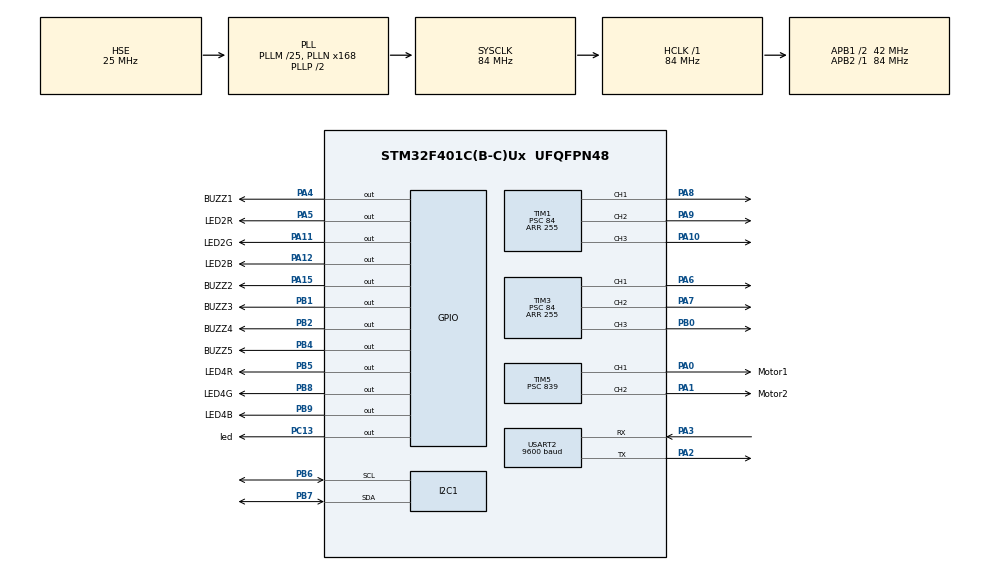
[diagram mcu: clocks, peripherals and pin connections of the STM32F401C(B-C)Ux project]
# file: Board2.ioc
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Mcu.Family=STM32F4
Mcu.Name=STM32F401C(B-C)Ux
Mcu.Package=UFQFPN48
NVIC.PriorityGroup=NVIC_PRIORITYGROUP_4
PA0-WKUP.GPIO_Label=Motor1
PA0-WKUP.Signal=S_TIM5_CH1
PA1.GPIO_Label=Motor2
PA1.Signal=S_TIM5_CH2
PA10.Signal=S_TIM1_CH3
PA11.GPIO_Label=LED2G
PA11.Signal=GPIO_Output
PA12.GPIO_Label=LED2B
PA12.Signal=GPIO_Output
PA15.GPIO_Label=BUZZ2
PA15.Signal=GPIO_Output
PA2.Mode=Multiprocessor_communication
PA2.Signal=USART2_TX
PA3.Mode=Multiprocessor_communication
PA3.Signal=USART2_RX
PA4.GPIO_Label=BUZZ1
PA4.Signal=GPIO_Output
PA5.GPIO_Label=LED2R
PA5.Signal=GPIO_Output
PA6.Signal=S_TIM3_CH1
PA7.Signal=S_TIM3_CH2
PA8.Signal=S_TIM1_CH1
PA9.Signal=S_TIM1_CH2
PB0.Signal=S_TIM3_CH3
PB1.GPIO_Label=BUZZ3
PB1.Signal=GPIO_Output
PB2.GPIO_Label=BUZZ4
PB2.Signal=GPIO_Output
PB4.GPIO_Label=BUZZ5
PB4.Signal=GPIO_Output
PB5.GPIO_Label=LED4R
PB5.Signal=GPIO_Output
PB6.GPIO_Pu=GPIO_PULLUP
PB6.Mode=I2C
PB6.Signal=I2C1_SCL
PB7.GPIO_Pu=GPIO_PULLUP
PB7.Mode=I2C
PB7.Signal=I2C1_SDA
PB8.GPIO_Label=LED4G
PB8.Signal=GPIO_Output
PB9.GPIO_Label=LED4B
PB9.Signal=GPIO_Output
PC13-ANTI_TAMP.GPIO_Label=led
PC13-ANTI_TAMP.Signal=GPIO_Output
PH0\ -\ OSC_IN.Mode=HSE-External-Oscillator
PH0\ -\ OSC_IN.Signal=RCC_OSC_IN
PH1\ -\ OSC_OUT.Mode=HSE-External-Oscillator
PH1\ -\ OSC_OUT.Signal=RCC_OSC_OUT
ProjectManager.HeapSize=0x200
ProjectManager.StackSize=0x400
ProjectManager.TargetToolchain=STM32CubeIDE
RCC.48MHZClocksFreq_Value=42000000
RCC.AHBFreq_Value=84000000
RCC.APB1CLKDivider=RCC_HCLK_DIV2
RCC.APB1Freq_Value=42000000
RCC.APB1TimFreq_Value=84000000
RCC.APB2Freq_Value=84000000
RCC.APB2TimFreq_Value=84000000
RCC.CortexFreq_Value=84000000
RCC.HCLKFreq_Value=84000000
RCC.HSE_VALUE=25000000
RCC.HSI_VALUE=16000000
RCC.LSE_VALUE=32768
RCC.PLLM=25
RCC.PLLN=168
RCC.PLLSourceVirtual=RCC_PLLSOURCE_HSE
RCC.SYSCLKFreq_VALUE=84000000
RCC.SYSCLKSource=RCC_SYSCLKSOURCE_PLLCLK
RCC.VCOOutputFreq_Value=168000000
SH.S_TIM1_CH1.0=TIM1_CH1,PWM Generation1 CH1
SH.S_TIM1_CH2.0=TIM1_CH2,PWM Generation2 CH2
SH.S_TIM1_CH3.0=TIM1_CH3,PWM Generation3 CH3
SH.S_TIM3_CH1.0=TIM3_CH1,PWM Generation1 CH1
SH.S_TIM3_CH2.0=TIM3_CH2,PWM Generation2 CH2
SH.S_TIM3_CH3.0=TIM3_CH3,PWM Generation3 CH3
SH.S_TIM5_CH1.0=TIM5_CH1,PWM Generation1 CH1
SH.S_TIM5_CH2.0=TIM5_CH2,PWM Generation2 CH2
TIM1.Channel-PWM\ Generation1\ CH1=TIM_CHANNEL_1
TIM1.Channel-PWM\ Generation2\ CH2=TIM_CHANNEL_2
TIM1.Channel-PWM\ Generation3\ CH3=TIM_CHANNEL_3
TIM1.Period=255
TIM1.Prescaler=84
TIM3.Channel-PWM\ Generation1\ CH1=TIM_CHANNEL_1
TIM3.Channel-PWM\ Generation2\ CH2=TIM_CHANNEL_2
TIM3.Channel-PWM\ Generation3\ CH3=TIM_CHANNEL_3
TIM3.Period=255
TIM3.Prescaler=84
TIM4.Period=255
TIM4.Prescaler=84
TIM5.Channel-PWM\ Generation1\ CH1=TIM_CHANNEL_1
TIM5.Channel-PWM\ Generation2\ CH2=TIM_CHANNEL_2
TIM5.Period=1999
TIM5.Prescaler=839
USART2.BaudRate=9600
USART2.VirtualMode=VM_ASYNC
VP_TIM1_VS_ClockSourceINT.Mode=Internal
VP_TIM3_VS_ClockSourceINT.Mode=Internal
VP_TIM4_VS_ClockSourceINT.Mode=Internal
VP_TIM5_VS_ClockSourceINT.Mode=Internal
board=custom

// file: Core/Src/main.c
/* USER CODE END Header */
#include "main.h"

/* USER CODE BEGIN Includes */
#include "i2c_lcd.h"
#include <string.h>
#include <stdio.h>  // Added for sscanf and string parsing
#include <stdarg.h>
 // Your Adafruit IO credentials (SSID, PASS, IO_USERNAME, IO_KEY)
/* USER CODE END Includes */

I2C_HandleTypeDef hi2c1;

TIM_HandleTypeDef htim1;
TIM_HandleTypeDef htim3;
TIM_HandleTypeDef htim4;
TIM_HandleTypeDef htim5;

UART_HandleTypeDef huart2;

/* USER CODE BEGIN PV */
#define RX_BUFFER_SIZE 128
uint8_t rx_buffer[RX_BUFFER_SIZE];
uint8_t rx_byte;
uint8_t rx_index = 0;
uint8_t data_ready = 0;
uint8_t empty = 4;
uint8_t arr[5]={0,0,0,0,0};
int32_t card_state[6];

#define NUM_RFIDS 6

const char *valid_rfids[NUM_RFIDS] = {
    "C4BC1902", "033FD72C", "7BDE8E02",
    "7673B202", "F393B802", "0AD8B902"
};

// Initialized to -1. A value of -1 means "Not Entered", any other value means "Entered"
int32_t rfid_timestamps[NUM_RFIDS] = {-1, -1, -1, -1, -1, -1};
char fetched_rfid[32] = {0}; // Buffer to hold the incoming ID

uint8_t gate1_in_use = 0;  // 1 if Gate 1 is currently open for entry
uint8_t gate2_in_use = 0;  // 1 if Gate 2 is currently open for exit

uint8_t gate_lock = 0;

/* USER CODE END PV */

void SystemClock_Config(void);
static void MX_GPIO_Init(void);
static void MX_TIM5_Init(void);
static void MX_TIM1_Init(void);
static void MX_TIM3_Init(void);
static void MX_TIM4_Init(void);
static void MX_USART2_UART_Init(void);
static void MX_I2C1_Init(void);
/* USER CODE BEGIN PFP */
void rgb_color1(uint8_t red, uint8_t green, uint8_t blue);
//void rgb_color2(uint8_t red, uint8_t green, uint8_t blue);
void rgb_color3(uint8_t red, uint8_t green, uint8_t blue);
//void rgb_color4(uint8_t red, uint8_t green, uint8_t blue);
void Get_Sensor_Update(void);
void Process_Received_Data(char* data);

/* USER CODE END PFP */

/* USER CODE BEGIN 0 */
// Function to control hardware based on received data
void debug_print(const char* format, ...) {
    char buffer[128];
    va_list args;
    va_start(args, format);
    vsnprintf(buffer, sizeof(buffer), format, args);
    va_end(args);

    // Send to serial
    HAL_UART_Transmit(&huart2, (uint8_t*)buffer, strlen(buffer), 100);
    HAL_UART_Transmit(&huart2, (uint8_t*)"\r\n", 2, 100);
	return;
}

void LCD_empty_spots(void) {
    char lcd_buffer[32];
    uint8_t display_col = 7; // Start printing spot numbers after "spots: " (columns 0-6)

    // 1. Safely format and display the total count on Row 0
    snprintf(lcd_buffer, sizeof(lcd_buffer), "Total Empty = %d     ", empty);
    lcd_put_cur(0, 0);
    lcd_send_string(lcd_buffer);

    // 2. Print the static prefix on Row 1
    lcd_put_cur(1, 0);
    lcd_send_string("spots: ");

    // 3. Dynamic loop to print empty spots next to the prefix
    for (int i = 1; i < 5; i++) {
        if (arr[i+1] == 0) { //  means empty based on your Process_Received_Data logic
            snprintf(lcd_buffer, sizeof(lcd_buffer), "%d ", i );
            lcd_put_cur(1, display_col);
            lcd_send_string(lcd_buffer);
            display_col += 2; // Advance position for the next found spot
        }
    }

    // 4. Clear out any trailing character artifacts left over from previous prints
    while (display_col < 16) {
        lcd_put_cur(1, display_col);
        lcd_send_string(" ");
        display_col++;
    }
}

void Get_Sensor_Update(void) {

    char http_request[300];
    char at_cmd[64];
    char clean_payload[32];
    char lcd_msg[32];

    // Static tracking variable to remember if our TCP pipe is open
    static uint8_t tcp_connected = 0;

    // --- HARDWARE FLUSH ---
    volatile uint32_t tmpreg = huart2.Instance->SR;
    volatile uint32_t tmpreg2 = huart2.Instance->DR;
    (void)tmpreg; (void)tmpreg2;

    // 1. Build the HTTP GET request with "keep-alive"
    snprintf(http_request, sizeof(http_request),
             "GET /api/v2/toqahossamx/feeds/sensor/data/last HTTP/1.1\r\n"
             "Host: io.adafruit.com\r\n"
            // "X-AIO-Key: YOUR_ADAFRUIT_KEY\r\n"
             "Connection: keep-alive\r\n\r\n"); // Keep connection open!

    // 2. Connect via TCP ONLY if we aren't already connected
    if (!tcp_connected) {
        //lcd_put_cur(0,0);
        //lcd_send_string("Connecting TCP...");

        char cipstart[] = "AT+CIPSTART=\"TCP\",\"io.adafruit.com\",80\r\n";
        HAL_UART_Transmit(&huart2, (uint8_t*)cipstart, strlen(cipstart), 1000);

        // Dynamic wait for connection response instead of a flat 500ms sleep
        char resp = 0;
        uint32_t start = HAL_GetTick();
        while((HAL_GetTick() - start) < 1000) {
            if(HAL_UART_Receive(&huart2, (uint8_t*)&resp, 1, 10) == HAL_OK) {
                // If we get an OK or ALREADY CONNECTED indicator, we can break early
                if (resp == '\n') break;
            }
        }
        tcp_connected = 1;
    }

    // 3. Send length command
    snprintf(at_cmd, sizeof(at_cmd), "AT+CIPSEND=%d\r\n", (int)strlen(http_request));
    HAL_UART_Transmit(&huart2, (uint8_t*)at_cmd, strlen(at_cmd), 1000);

    // Quick wait for the '>' prompt symbol from ESP instead of a blind 200ms delay
    char prompt = 0;
    uint32_t p_start = HAL_GetTick();
    while((HAL_GetTick() - p_start) < 500) {
        if(HAL_UART_Receive(&huart2, (uint8_t*)&prompt, 1, 5) == HAL_OK) {
            if(prompt == '>') break;
        }
    }

    // 4. Send the HTTP request payload
    HAL_UART_Transmit(&huart2, (uint8_t*)http_request, strlen(http_request), 1000);

    // 5. REAL-TIME STREAM PARSING
    const char *target = "\"value\":\"";
    int match_idx = 0;
    char rx_char;
    uint8_t found_data = 0;
    char type = 0;
    int index = 0, state = 0;

    // Monitor stream for up to 2000ms (Slashed from 3000ms for speed)
    uint32_t start_time = HAL_GetTick();
    while ((HAL_GetTick() - start_time) < 2000) {
        if (HAL_UART_Receive(&huart2, (uint8_t*)&rx_char, 1, 5) == HAL_OK) {
            if (rx_char == target[match_idx]) {
                match_idx++;
                if (target[match_idx] == '\0') {
                    char payload_buf[16];
                    int p_idx = 0;

                    while ((HAL_GetTick() - start_time) < 2000 && p_idx < 15) {
                        if (HAL_UART_Receive(&huart2, (uint8_t*)&rx_char, 1, 5) == HAL_OK) {
                            if (rx_char == '"') break;
                            payload_buf[p_idx++] = rx_char;
                        }
                    }
                    payload_buf[p_idx] = '\0';

                    if (sscanf(payload_buf, "%c,%d,%d", &type, &index, &state) == 3) {
                        found_data = 1;
                    }
                    break;
                }
            } else {
                match_idx = (rx_char == target[0]) ? 1 : 0;
            }
        }
    }

    // 6. Display updates and fallback logic
    if (found_data) {
        snprintf(clean_payload, sizeof(clean_payload), "value=%c,%d,%d", type, index, state);
        snprintf(lcd_msg, sizeof(lcd_msg), "Val: %c | %d | %d   ", type, index, state);

     /*   lcd_put_cur(2,0);
        lcd_send_string(lcd_msg);
        lcd_put_cur(2,0);
        lcd_send_string("Fetch Online    ");*/

        Process_Received_Data(clean_payload);
    } else {
     //   lcd_put_cur(3,);
       // lcd_send_string("Fetch Retry...");
        // If data stream timed out, assume TCP disconnected or broke down.
        // Forcing a fresh connection setup on the next loop.
        tcp_connected = 0;
    }
}
void Fetch_Latest_RFID(void) {
    char http_request[300];
    char at_cmd[64];

    // Clear previous ID
    memset(fetched_rfid, 0, sizeof(fetched_rfid));

    // 1. Build request for the RFID feed
    snprintf(http_request, sizeof(http_request),
             "GET /api/v2/toqahossamx/feeds/rfid/data/last HTTP/1.1\r\n"
             "Host: io.adafruit.com\r\n"
             "X-AIO-Key: YOUR_ADAFRUIT_KEY\r\n"
             "Connection: keep-alive\r\n\r\n");

    // 2. Send length command
    snprintf(at_cmd, sizeof(at_cmd), "AT+CIPSEND=%d\r\n", (int)strlen(http_request));
    HAL_UART_Transmit(&huart2, (uint8_t*)at_cmd, strlen(at_cmd), 1000);

    // Wait for prompt '>'
    char prompt = 0;
    uint32_t p_start = HAL_GetTick();
    while((HAL_GetTick() - p_start) < 500) {
        if(HAL_UART_Receive(&huart2, (uint8_t*)&prompt, 1, 5) == HAL_OK && prompt == '>') break;
    }

    // 3. Send the HTTP request
    HAL_UART_Transmit(&huart2, (uint8_t*)http_request, strlen(http_request), 1000);

    // 4. Parse the String ID from JSON {"value":"C4BC1902"}
    const char *target = "\"value\":\"";
    int match_idx = 0;
    char rx_char;
    uint32_t start_time = HAL_GetTick();

    while ((HAL_GetTick() - start_time) < 2000) {
        if (HAL_UART_Receive(&huart2, (uint8_t*)&rx_char, 1, 5) == HAL_OK) {
            if (rx_char == target[match_idx]) {
                match_idx++;
                if (target[match_idx] == '\0') {
                    int p_idx = 0;
                    while ((HAL_GetTick() - start_time) < 2000 && p_idx < 31) {
                        if (HAL_UART_Receive(&huart2, (uint8_t*)&rx_char, 1, 5) == HAL_OK) {
                            if (rx_char == '"') break; // End of string
                            fetched_rfid[p_idx++] = rx_char;
                        }
                    }
                    fetched_rfid[p_idx] = '\0';
                    break; // Parsing complete
                }
            } else {
                match_idx = (rx_char == target[0]) ? 1 : 0;
            }
        }
    }
}

void Process_Motor_Command(char type, int index, int state)
{
	 if ((gate_lock || empty==0) && state == 1)
	    {
	        lcd_put_cur(2,0);
	        lcd_send_string("ENTRY DENIED       ");
	        HAL_Delay(5000);
	        lcd_clear();

	        return;
	    }

    if (type != 'M') {
        debug_print("[ERROR] Type is not M, ignoring");
        return;
    }

    // =========================================================================
    // M,1,x COMMANDS (Entry/Exit Toggle)
    // =========================================================================
    if (index == 1)
    {

        if (state == 1 && gate_lock==0 && empty!=0)  // M,1,1 - OPEN command
        {
            // Delay for Adafruit to update RFID feed
            HAL_Delay(500);

            // Fetch the RFID
            Fetch_Latest_RFID();

            // Find which card this is
            int card_idx = -1;
            for (int i = 0; i < NUM_RFIDS; i++) {
                if (strcmp(fetched_rfid, valid_rfids[i]) == 0) {
                    card_idx = i;
                    break;
                }
            }

            // ERROR CASE: Unknown card
            if (card_idx == -1) {
                lcd_put_cur(0, 0);
                lcd_send_string("UNKNOWN CARD!   ");
                lcd_put_cur(1, 0);
                lcd_send_string("Access Denied   ");
                return;  // EXIT: Do nothing
            }

            debug_print("[STATE] Card index %d - timestamp = %ld",
                        card_idx, rfid_timestamps[card_idx]);

            if (rfid_timestamps[card_idx] == -1)
            {
                // SAFETY: Prevent both gates from opening
                if (gate1_in_use == 1 || gate2_in_use == 1) {
                    debug_print("[SAFETY] WARNING: A gate is already in use!");
                    return;  // EXIT
                }

                rfid_timestamps[card_idx] = HAL_GetTick();
                gate1_in_use = 1;
                gate2_in_use = 0;

                // OPEN GATE 1
                __HAL_TIM_SET_COMPARE(&htim5, TIM_CHANNEL_1, 100);
            }
            else
            {
                // EXIT MODE: Card IS in garage (has timestamp)
                debug_print("[EXIT] Timestamp is %ld (in garage)",
                            rfid_timestamps[card_idx]);

                // SAFETY: Prevent both gates from opening
                if (gate1_in_use == 1 || gate2_in_use == 1) {
                    debug_print("[SAFETY] WARNING: A gate is already in use!");
                    return;  // EXIT
                }

                uint32_t duration = HAL_GetTick() - (uint32_t)rfid_timestamps[card_idx];
                rfid_timestamps[card_idx] = -1; // Clear timestamp

                gate2_in_use = 1;
                gate1_in_use = 0;

                lcd_clear();
                lcd_put_cur(3, 0);
              //lcd_send_string("Time: %lus", duration);
                char msg[16];
                snprintf(msg, sizeof(msg), "Price: %lu LE", duration / 1000);
                lcd_put_cur(3, 0);
                lcd_send_string(msg);

                // OPEN GATE 2
                __HAL_TIM_SET_COMPARE(&htim5, TIM_CHANNEL_2, 100);
            }
        }
        else if (state == 0)  // M,1,0 - CLOSE command
        {
            debug_print("[GATE] M,1,0 received - closing active gates");

            // Close Gate 1 if it is open
            if (gate1_in_use == 1)
            {
                lcd_put_cur(0, 0);
                lcd_send_string("Gate 1 Closing...");
                __HAL_TIM_SET_COMPARE(&htim5, TIM_CHANNEL_1, 200);
                gate1_in_use = 0;
            }

            // ADDED CONDITION: Also close Gate 2 if it was opened during exit cycle
            if (gate2_in_use == 1)
            {
                lcd_put_cur(0, 0);
                lcd_send_string("Gate 2 Closing...");
                __HAL_TIM_SET_COMPARE(&htim5, TIM_CHANNEL_2, 200);
                gate2_in_use = 0;
            }
        }
    }

    // =========================================================================
    // M,2,x COMMANDS (Force Exit Gate)
    // =========================================================================
    else if (index == 2)
    {

        if (state == 1)  // M,2,1 - OPEN command
        {

            // SAFETY: Prevent both gates from opening simultaneously
            if (gate1_in_use == 1) {
                return;
            }

            // ADDED CONDITION: Force open Gate 2 when explicit M,2,1 instruction arrives
            gate2_in_use = 1;
            gate1_in_use = 0;

            // OPEN GATE 2
            __HAL_TIM_SET_COMPARE(&htim5, TIM_CHANNEL_2, 100);
        }
        else if (state == 0)  // M,2,0 - CLOSE command
        {
            if (gate2_in_use == 1)
            {
                __HAL_TIM_SET_COMPARE(&htim5, TIM_CHANNEL_2, 200);
                gate2_in_use = 0;
            }
        }
    }
}

void Process_Received_Data(char* data) {
    char type;
    int index, state;

    // The ESP might send "+IPD,xx:value=B,1,1" or just "value=B,1,1"
    // strstr locates the start of our actual payload
    char *payload_start = strstr(data, "value=");
    if (payload_start != NULL) {
        if (sscanf(payload_start, "value=%c,%d,%d", &type, &index, &state) == 3) {

            switch(type) {
                case 'U': // --- BUZZER CONTROL ---
                    if ((index == 1)&& (state ==1))
                    	{
                    	 HAL_GPIO_WritePin(GPIOA, BUZZ1_Pin, GPIO_PIN_SET);
                    	}
                    else if((index == 1)&& (state ==0))
                	{
                	 HAL_GPIO_WritePin(GPIOA, BUZZ1_Pin, GPIO_PIN_RESET);
                	}
                    else  if ((index == 2)&& (state ==1))
                     	{
                       HAL_GPIO_WritePin(GPIOA, BUZZ2_Pin, GPIO_PIN_SET);
                        }
                   else if((index == 2)&& (state ==0))
                         {
                           HAL_GPIO_WritePin(GPIOA, BUZZ2_Pin, GPIO_PIN_RESET);
                        }
                   else  if ((index == 3)&& (state ==1))
                       {
                          HAL_GPIO_WritePin(GPIOB, BUZZ3_Pin, GPIO_PIN_SET);
                        }
                   else if((index == 3)&& (state ==0))
                     {
                       HAL_GPIO_WritePin(GPIOB, BUZZ3_Pin, GPIO_PIN_RESET);
                     }
                   else if ((index == 4)&& (state ==1))
                    {
                      HAL_GPIO_WritePin(GPIOB, BUZZ4_Pin, GPIO_PIN_SET);
                   	}
                   else if((index == 4)&& (state ==0))
                    {
                      HAL_GPIO_WritePin(GPIOB, BUZZ4_Pin, GPIO_PIN_RESET);
                    }

                    break;

                case 'M':  // MOTOR CONTROL
                                 debug_print("[PROCESS] Routing to motor handler");
                                 Process_Motor_Command(type, index, state);
                                 break;

                case 'G':
                	if ((index ==0)&& (state==1))
                		 HAL_GPIO_WritePin(GPIOB, BUZZ5_Pin, GPIO_PIN_SET);
                	else if ((index ==0)&& (state==0))
                		 HAL_GPIO_WritePin(GPIOB, BUZZ5_Pin, GPIO_PIN_RESET);
                	break;

                case 'I': // --- LED/RGB CONTROL & PARKING LOGIC ---
                	if (index == 1)
                	{
                	    if (state == 1)
                	    {
                	        gate_lock = 1;

                	        lcd_put_cur(2,0);
                	        lcd_send_string("Height not allowed        ");
                	        HAL_Delay(500);
                	    }
                	    else
                	    {
                	        gate_lock = 0;
                	        lcd_put_cur(2,0);
                	        lcd_send_string("Height allowed   ");
                	        HAL_Delay(500);
                	    }

                	    break;
                	}
                                    if (index >= 2 && index <= 5) {
                                        uint8_t slot_idx = index - 1; // Convert 1-4 to array index 0-3

                                        if (state == 1) { // --- Target Spot is OCCUPIED ---
                                            // Only update variables if the spot was previously empty (0)
                                            if (arr[slot_idx+1] == 0) {
                                                arr[slot_idx+1] = 1; // Mark as Occupied
                                                if (empty > 0) empty--;
                                            }

                                            // Update corresponding physical RGB LED to RED
                                            if (index == 2)      rgb_color1(255, 0, 0);
                                            else if (index == 3) {
                                                HAL_GPIO_WritePin(GPIOA, LED2R_Pin, GPIO_PIN_SET);
                                                HAL_GPIO_WritePin(GPIOA, LED2G_Pin, GPIO_PIN_RESET);
                                                HAL_GPIO_WritePin(GPIOA, LED2B_Pin, GPIO_PIN_RESET);
                                            }
                                            else if (index == 4) rgb_color3(255, 0, 0);
                                            else if (index == 5) {
                                                HAL_GPIO_WritePin(GPIOB, LED4R_Pin, GPIO_PIN_SET);
                                                HAL_GPIO_WritePin(GPIOB, LED4G_Pin, GPIO_PIN_RESET);
                                                HAL_GPIO_WritePin(GPIOB, LED4B_Pin, GPIO_PIN_RESET);
                                            }
                                        }
                                        else if (state == 0) { // --- Target Spot is EMPTY ---
                                            // Only update variables if the spot was previously occupied (1)
                                            if (arr[slot_idx+1] == 1) {
                                                arr[slot_idx+1] = 0; // Mark as Empty
                                                if (empty < 4) empty++;
                                            }

                                            // Update corresponding physical RGB LED to GREEN
                                            if (index == 2)      rgb_color1(50, 0, 180);
                                            else if (index == 3) {
                                                HAL_GPIO_WritePin(GPIOA, LED2R_Pin, GPIO_PIN_RESET);
                                                HAL_GPIO_WritePin(GPIOA, LED2G_Pin, GPIO_PIN_SET);
                                                HAL_GPIO_WritePin(GPIOA, LED2B_Pin, GPIO_PIN_RESET);
                                            }
                                            else if (index == 4) rgb_color3(0, 255, 0);
                                            else if (index == 5) {
                                                HAL_GPIO_WritePin(GPIOB, LED4R_Pin, GPIO_PIN_RESET);
                                                HAL_GPIO_WritePin(GPIOB, LED4G_Pin, GPIO_PIN_SET);
                                                HAL_GPIO_WritePin(GPIOB, LED4B_Pin, GPIO_PIN_RESET);
                                            }
                                        }
                                    }
                                    //break;
                    break;
            }
        }
    }
}

/* USER CODE END 0 */

int main(void)
{

  /* MCU Configuration--------------------------------------------------------*/

  /* Reset of all peripherals, Initializes the Flash interface and the Systick. */
  HAL_Init();

  /* Configure the system clock */
  SystemClock_Config();

  /* Initialize all configured peripherals */
  MX_GPIO_Init();
  MX_TIM5_Init();
  MX_TIM1_Init();
  MX_TIM3_Init();
  MX_TIM4_Init();
  MX_USART2_UART_Init();
  MX_I2C1_Init();
  /* USER CODE BEGIN 2 */
  HAL_TIM_PWM_Start(&htim1, TIM_CHANNEL_1);
  HAL_TIM_PWM_Start(&htim1, TIM_CHANNEL_2);
  HAL_TIM_PWM_Start(&htim1, TIM_CHANNEL_3);

  HAL_TIM_PWM_Start(&htim3, TIM_CHANNEL_1);
  HAL_TIM_PWM_Start(&htim3, TIM_CHANNEL_2);
  HAL_TIM_PWM_Start(&htim3, TIM_CHANNEL_3);

  HAL_TIM_PWM_Start(&htim5, TIM_CHANNEL_1);
  HAL_TIM_PWM_Start(&htim5, TIM_CHANNEL_2);
  HAL_Delay(100);

  // Spot 1 -> GREEN
      rgb_color1(50, 0, 180);

      // Spot 2 -> GREEN
      HAL_GPIO_WritePin(GPIOA, LED2R_Pin, GPIO_PIN_RESET);
      HAL_GPIO_WritePin(GPIOA, LED2G_Pin, GPIO_PIN_SET);
      HAL_GPIO_WritePin(GPIOA, LED2B_Pin, GPIO_PIN_RESET);

      // Spot 3 -> GREEN
      rgb_color3(0, 255, 0);

      // Spot 4 -> YELLOW
      HAL_GPIO_WritePin(GPIOB, LED4R_Pin, GPIO_PIN_RESET);
      HAL_GPIO_WritePin(GPIOB, LED4G_Pin, GPIO_PIN_SET);
      HAL_GPIO_WritePin(GPIOB, LED4B_Pin, GPIO_PIN_RESET);

  lcd_init();

      for (int i = 0; i < 6; i++) {
          card_state[i] = -1;
      }

  /* USER CODE END 2 */

  /* Infinite loop */
  /* USER CODE BEGIN WHILE */

  while (1)
  {// 1. Fetch data streamingly from cloud feed
	    Get_Sensor_Update();

	    // 2. Refresh LCD layout showing current spaces available
	    LCD_empty_spots();

	    // 3. Heartbeat visual check
	    HAL_GPIO_TogglePin(led_GPIO_Port, led_Pin);

	    // FIX: Enforce Adafruit IO Rate Limit (Max 30 requests/minute)
	    // A 2.5 second delay prevents the ESP from being temporarily IP-banned.
	    HAL_Delay(2500);
  }
    /* USER CODE END WHILE */

}

void SystemClock_Config(void)
{
  RCC_OscInitTypeDef RCC_OscInitStruct = {0};
  RCC_ClkInitTypeDef RCC_ClkInitStruct = {0};

  /** Configure the main internal regulator output voltage
  */
  __HAL_RCC_PWR_CLK_ENABLE();
  __HAL_PWR_VOLTAGESCALING_CONFIG(PWR_REGULATOR_VOLTAGE_SCALE2);

  /** Initializes the RCC Oscillators according to the specified parameters
  * in the RCC_OscInitTypeDef structure.
  */
  RCC_OscInitStruct.OscillatorType = RCC_OSCILLATORTYPE_HSE;
  RCC_OscInitStruct.HSEState = RCC_HSE_ON;
  RCC_OscInitStruct.PLL.PLLState = RCC_PLL_ON;
  RCC_OscInitStruct.PLL.PLLSource = RCC_PLLSOURCE_HSE;
  RCC_OscInitStruct.PLL.PLLM = 25;
  RCC_OscInitStruct.PLL.PLLN = 168;
  RCC_OscInitStruct.PLL.PLLP = RCC_PLLP_DIV2;
  RCC_OscInitStruct.PLL.PLLQ = 4;
  if (HAL_RCC_OscConfig(&RCC_OscInitStruct) != HAL_OK)
  {
    Error_Handler();
  }

  /** Initializes the CPU, AHB and APB buses clocks
  */
  RCC_ClkInitStruct.ClockType = RCC_CLOCKTYPE_HCLK|RCC_CLOCKTYPE_SYSCLK
                              |RCC_CLOCKTYPE_PCLK1|RCC_CLOCKTYPE_PCLK2;
  RCC_ClkInitStruct.SYSCLKSource = RCC_SYSCLKSOURCE_PLLCLK;
  RCC_ClkInitStruct.AHBCLKDivider = RCC_SYSCLK_DIV1;
  RCC_ClkInitStruct.APB1CLKDivider = RCC_HCLK_DIV2;
  RCC_ClkInitStruct.APB2CLKDivider = RCC_HCLK_DIV1;

  if (HAL_RCC_ClockConfig(&RCC_ClkInitStruct, FLASH_LATENCY_2) != HAL_OK)
  {
    Error_Handler();
  }
}
static void MX_I2C1_Init(void)
{
  hi2c1.Instance = I2C1;
  hi2c1.Init.ClockSpeed = 100000;
  hi2c1.Init.DutyCycle = I2C_DUTYCYCLE_2;
  hi2c1.Init.OwnAddress1 = 0;
  hi2c1.Init.AddressingMode = I2C_ADDRESSINGMODE_7BIT;
  hi2c1.Init.DualAddressMode = I2C_DUALADDRESS_DISABLE;
  hi2c1.Init.OwnAddress2 = 0;
  hi2c1.Init.GeneralCallMode = I2C_GENERALCALL_DISABLE;
  hi2c1.Init.NoStretchMode = I2C_NOSTRETCH_DISABLE;
  if (HAL_I2C_Init(&hi2c1) != HAL_OK)
  {
    Error_Handler();
  }
}
static void MX_TIM1_Init(void)
{
  TIM_ClockConfigTypeDef sClockSourceConfig = {0};
  TIM_MasterConfigTypeDef sMasterConfig = {0};
  TIM_OC_InitTypeDef sConfigOC = {0};
  TIM_BreakDeadTimeConfigTypeDef sBreakDeadTimeConfig = {0};

  htim1.Instance = TIM1;
  htim1.Init.Prescaler = 84;
  htim1.Init.CounterMode = TIM_COUNTERMODE_UP;
  htim1.Init.Period = 255;
  htim1.Init.ClockDivision = TIM_CLOCKDIVISION_DIV1;
  htim1.Init.RepetitionCounter = 0;
  htim1.Init.AutoReloadPreload = TIM_AUTORELOAD_PRELOAD_DISABLE;
  if (HAL_TIM_Base_Init(&htim1) != HAL_OK)
  {
    Error_Handler();
  }
  sClockSourceConfig.ClockSource = TIM_CLOCKSOURCE_INTERNAL;
  if (HAL_TIM_ConfigClockSource(&htim1, &sClockSourceConfig) != HAL_OK)
  {
    Error_Handler();
  }
  if (HAL_TIM_PWM_Init(&htim1) != HAL_OK)
  {
    Error_Handler();
  }
  sMasterConfig.MasterOutputTrigger = TIM_TRGO_RESET;
  sMasterConfig.MasterSlaveMode = TIM_MASTERSLAVEMODE_DISABLE;
  if (HAL_TIMEx_MasterConfigSynchronization(&htim1, &sMasterConfig) != HAL_OK)
  {
    Error_Handler();
  }
  sConfigOC.OCMode = TIM_OCMODE_PWM1;
  sConfigOC.Pulse = 0;
  sConfigOC.OCPolarity = TIM_OCPOLARITY_HIGH;
  sConfigOC.OCNPolarity = TIM_OCNPOLARITY_HIGH;
  sConfigOC.OCFastMode = TIM_OCFAST_DISABLE;
  sConfigOC.OCIdleState = TIM_OCIDLESTATE_RESET;
  sConfigOC.OCNIdleState = TIM_OCNIDLESTATE_RESET;
  if (HAL_TIM_PWM_ConfigChannel(&htim1, &sConfigOC, TIM_CHANNEL_1) != HAL_OK)
  {
    Error_Handler();
  }
  if (HAL_TIM_PWM_ConfigChannel(&htim1, &sConfigOC, TIM_CHANNEL_2) != HAL_OK)
  {
    Error_Handler();
  }
  if (HAL_TIM_PWM_ConfigChannel(&htim1, &sConfigOC, TIM_CHANNEL_3) != HAL_OK)
  {
    Error_Handler();
  }
  sBreakDeadTimeConfig.OffStateRunMode = TIM_OSSR_DISABLE;
  sBreakDeadTimeConfig.OffStateIDLEMode = TIM_OSSI_DISABLE;
  sBreakDeadTimeConfig.LockLevel = TIM_LOCKLEVEL_OFF;
  sBreakDeadTimeConfig.DeadTime = 0;
  sBreakDeadTimeConfig.BreakState = TIM_BREAK_DISABLE;
  sBreakDeadTimeConfig.BreakPolarity = TIM_BREAKPOLARITY_HIGH;
  sBreakDeadTimeConfig.AutomaticOutput = TIM_AUTOMATICOUTPUT_DISABLE;
  if (HAL_TIMEx_ConfigBreakDeadTime(&htim1, &sBreakDeadTimeConfig) != HAL_OK)
  {
    Error_Handler();
  }
  HAL_TIM_MspPostInit(&htim1);

}

static void MX_TIM3_Init(void)
{

  TIM_ClockConfigTypeDef sClockSourceConfig = {0};
  TIM_MasterConfigTypeDef sMasterConfig = {0};
  TIM_OC_InitTypeDef sConfigOC = {0};

  htim3.Instance = TIM3;
  htim3.Init.Prescaler = 84;
  htim3.Init.CounterMode = TIM_COUNTERMODE_UP;
  htim3.Init.Period = 255;
  htim3.Init.ClockDivision = TIM_CLOCKDIVISION_DIV1;
  htim3.Init.AutoReloadPreload = TIM_AUTORELOAD_PRELOAD_DISABLE;
  if (HAL_TIM_Base_Init(&htim3) != HAL_OK)
  {
    Error_Handler();
  }
  sClockSourceConfig.ClockSource = TIM_CLOCKSOURCE_INTERNAL;
  if (HAL_TIM_ConfigClockSource(&htim3, &sClockSourceConfig) != HAL_OK)
  {
    Error_Handler();
  }
  if (HAL_TIM_PWM_Init(&htim3) != HAL_OK)
  {
    Error_Handler();
  }
  sMasterConfig.MasterOutputTrigger = TIM_TRGO_RESET;
  sMasterConfig.MasterSlaveMode = TIM_MASTERSLAVEMODE_DISABLE;
  if (HAL_TIMEx_MasterConfigSynchronization(&htim3, &sMasterConfig) != HAL_OK)
  {
    Error_Handler();
  }
  sConfigOC.OCMode = TIM_OCMODE_PWM1;
  sConfigOC.Pulse = 0;
  sConfigOC.OCPolarity = TIM_OCPOLARITY_HIGH;
  sConfigOC.OCFastMode = TIM_OCFAST_DISABLE;
  if (HAL_TIM_PWM_ConfigChannel(&htim3, &sConfigOC, TIM_CHANNEL_1) != HAL_OK)
  {
    Error_Handler();
  }
  if (HAL_TIM_PWM_ConfigChannel(&htim3, &sConfigOC, TIM_CHANNEL_2) != HAL_OK)
  {
    Error_Handler();
  }
  if (HAL_TIM_PWM_ConfigChannel(&htim3, &sConfigOC, TIM_CHANNEL_3) != HAL_OK)
  {
    Error_Handler();
  }
  HAL_TIM_MspPostInit(&htim3);
}
static void MX_TIM4_Init(void)
{
  TIM_ClockConfigTypeDef sClockSourceConfig = {0};
  TIM_MasterConfigTypeDef sMasterConfig = {0};
  htim4.Instance = TIM4;
  htim4.Init.Prescaler = 84;
  htim4.Init.CounterMode = TIM_COUNTERMODE_UP;
  htim4.Init.Period = 255;
  htim4.Init.ClockDivision = TIM_CLOCKDIVISION_DIV1;
  htim4.Init.AutoReloadPreload = TIM_AUTORELOAD_PRELOAD_DISABLE;
  if (HAL_TIM_Base_Init(&htim4) != HAL_OK)
  {
    Error_Handler();
  }
  sClockSourceConfig.ClockSource = TIM_CLOCKSOURCE_INTERNAL;
  if (HAL_TIM_ConfigClockSource(&htim4, &sClockSourceConfig) != HAL_OK)
  {
    Error_Handler();
  }
  sMasterConfig.MasterOutputTrigger = TIM_TRGO_RESET;
  sMasterConfig.MasterSlaveMode = TIM_MASTERSLAVEMODE_DISABLE;
  if (HAL_TIMEx_MasterConfigSynchronization(&htim4, &sMasterConfig) != HAL_OK)
  {
    Error_Handler();
  }

}

static void MX_TIM5_Init(void)
{

  TIM_ClockConfigTypeDef sClockSourceConfig = {0};
  TIM_MasterConfigTypeDef sMasterConfig = {0};
  TIM_OC_InitTypeDef sConfigOC = {0};

  htim5.Instance = TIM5;
  htim5.Init.Prescaler = 839;
  htim5.Init.CounterMode = TIM_COUNTERMODE_UP;
  htim5.Init.Period = 1999;
  htim5.Init.ClockDivision = TIM_CLOCKDIVISION_DIV1;
  htim5.Init.AutoReloadPreload = TIM_AUTORELOAD_PRELOAD_DISABLE;
  if (HAL_TIM_Base_Init(&htim5) != HAL_OK)
  {
    Error_Handler();
  }
  sClockSourceConfig.ClockSource = TIM_CLOCKSOURCE_INTERNAL;
  if (HAL_TIM_ConfigClockSource(&htim5, &sClockSourceConfig) != HAL_OK)
  {
    Error_Handler();
  }
  if (HAL_TIM_PWM_Init(&htim5) != HAL_OK)
  {
    Error_Handler();
  }
  sMasterConfig.MasterOutputTrigger = TIM_TRGO_RESET;
  sMasterConfig.MasterSlaveMode = TIM_MASTERSLAVEMODE_DISABLE;
  if (HAL_TIMEx_MasterConfigSynchronization(&htim5, &sMasterConfig) != HAL_OK)
  {
    Error_Handler();
  }
  sConfigOC.OCMode = TIM_OCMODE_PWM1;
  sConfigOC.Pulse = 0;
  sConfigOC.OCPolarity = TIM_OCPOLARITY_HIGH;
  sConfigOC.OCFastMode = TIM_OCFAST_DISABLE;
  if (HAL_TIM_PWM_ConfigChannel(&htim5, &sConfigOC, TIM_CHANNEL_1) != HAL_OK)
  {
    Error_Handler();
  }
  if (HAL_TIM_PWM_ConfigChannel(&htim5, &sConfigOC, TIM_CHANNEL_2) != HAL_OK)
  {
    Error_Handler();
  }
  HAL_TIM_MspPostInit(&htim5);

}

static void MX_USART2_UART_Init(void)
{

  huart2.Instance = USART2;
  huart2.Init.BaudRate = 9600;
  huart2.Init.WordLength = UART_WORDLENGTH_8B;
  huart2.Init.StopBits = UART_STOPBITS_1;
  huart2.Init.Parity = UART_PARITY_NONE;
  huart2.Init.Mode = UART_MODE_TX_RX;
  huart2.Init.HwFlowCtl = UART_HWCONTROL_NONE;
  huart2.Init.OverSampling = UART_OVERSAMPLING_16;
  if (HAL_MultiProcessor_Init(&huart2, 0, UART_WAKEUPMETHOD_IDLELINE) != HAL_OK)
  {
    Error_Handler();
  }

}
static void MX_GPIO_Init(void)
{
  GPIO_InitTypeDef GPIO_InitStruct = {0};
  /* GPIO Ports Clock Enable */
  __HAL_RCC_GPIOC_CLK_ENABLE();
  __HAL_RCC_GPIOH_CLK_ENABLE();
  __HAL_RCC_GPIOA_CLK_ENABLE();
  __HAL_RCC_GPIOB_CLK_ENABLE();
  /*Configure GPIO pin Output Level */
  HAL_GPIO_WritePin(led_GPIO_Port, led_Pin, GPIO_PIN_RESET);
  /*Configure GPIO pin Output Level */
  HAL_GPIO_WritePin(GPIOA, BUZZ1_Pin|LED2R_Pin|LED2G_Pin|LED2B_Pin
                          |BUZZ2_Pin, GPIO_PIN_RESET);
  /*Configure GPIO pin Output Level */
  HAL_GPIO_WritePin(GPIOB, BUZZ3_Pin|BUZZ4_Pin|BUZZ5_Pin|LED4R_Pin
                          |LED4G_Pin|LED4B_Pin, GPIO_PIN_RESET);
  /*Configure GPIO pin : led_Pin */
  GPIO_InitStruct.Pin = led_Pin;
  GPIO_InitStruct.Mode = GPIO_MODE_OUTPUT_PP;
  GPIO_InitStruct.Pull = GPIO_NOPULL;
  GPIO_InitStruct.Speed = GPIO_SPEED_FREQ_LOW;
  HAL_GPIO_Init(led_GPIO_Port, &GPIO_InitStruct);
  /*Configure GPIO pins : BUZZ1_Pin LED2R_Pin LED2G_Pin LED2B_Pin
                           BUZZ2_Pin */
  GPIO_InitStruct.Pin = BUZZ1_Pin|LED2R_Pin|LED2G_Pin|LED2B_Pin
                          |BUZZ2_Pin;
  GPIO_InitStruct.Mode = GPIO_MODE_OUTPUT_PP;
  GPIO_InitStruct.Pull = GPIO_NOPULL;
  GPIO_InitStruct.Speed = GPIO_SPEED_FREQ_LOW;
  HAL_GPIO_Init(GPIOA, &GPIO_InitStruct);
  /*Configure GPIO pins : BUZZ3_Pin BUZZ4_Pin BUZZ5_Pin LED4R_Pin
                           LED4G_Pin LED4B_Pin */
  GPIO_InitStruct.Pin = BUZZ3_Pin|BUZZ4_Pin|BUZZ5_Pin|LED4R_Pin
                          |LED4G_Pin|LED4B_Pin;
  GPIO_InitStruct.Mode = GPIO_MODE_OUTPUT_PP;
  GPIO_InitStruct.Pull = GPIO_NOPULL;
  GPIO_InitStruct.Speed = GPIO_SPEED_FREQ_LOW;
  HAL_GPIO_Init(GPIOB, &GPIO_InitStruct);
}
/* USER CODE BEGIN 4 */
void rgb_color1(uint8_t red, uint8_t green, uint8_t blue)
{
	htim1.Instance->CCR1 = red;
	htim1.Instance->CCR2 = green;
	htim1.Instance->CCR3 = blue;
}

/*void rgb_color2(uint8_t red, uint8_t green, uint8_t blue)
{
    // Inverted logic: 0 turns it ON, 1 turns it OFF
    HAL_GPIO_WritePin(GPIOA, LED2R_Pin, red ? GPIO_PIN_RESET : GPIO_PIN_SET);
    HAL_GPIO_WritePin(GPIOA, LED2G_Pin, green ? GPIO_PIN_RESET : GPIO_PIN_SET);
    HAL_GPIO_WritePin(GPIOA, LED2B_Pin, blue ? GPIO_PIN_RESET : GPIO_PIN_SET);
}*/
void rgb_color3(uint8_t red, uint8_t green, uint8_t blue)
{
	htim3.Instance->CCR1 = red;
	htim3.Instance->CCR2 = green;
	htim3.Instance->CCR3 = blue;
}

/* USER CODE BEGIN 4 */
/*void rgb_color4(uint8_t red, uint8_t green, uint8_t blue)
{
    // Inverted logic: 0 turns it ON, 1 turns it OFF
    HAL_GPIO_WritePin(GPIOB, LED4R_Pin, red ? GPIO_PIN_RESET : GPIO_PIN_SET);
    HAL_GPIO_WritePin(GPIOB, LED4G_Pin, green ? GPIO_PIN_RESET : GPIO_PIN_SET);
    HAL_GPIO_WritePin(GPIOB, LED4B_Pin, blue ? GPIO_PIN_RESET : GPIO_PIN_SET);
}*/

/* USER CODE END 4 */

void Error_Handler(void)
{
  /* USER CODE BEGIN Error_Handler_Debug */
  /* User can add his own implementation to report the HAL error return state */
  __disable_irq();
  while (1)
  { }
  /* USER CODE END Error_Handler_Debug */
}
